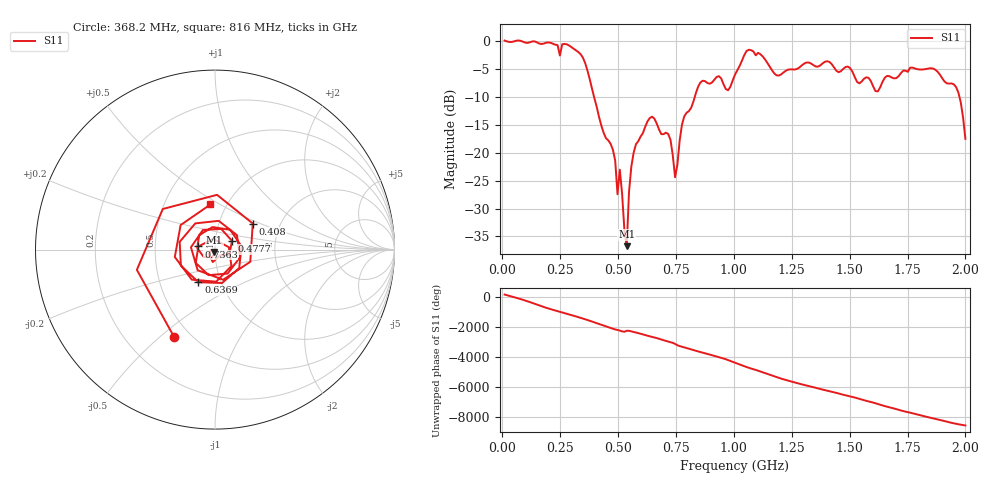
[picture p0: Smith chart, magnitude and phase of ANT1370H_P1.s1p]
!Created with skrf (http://scikit-rf.org).
# Hz S RI R 50.0
!freq ReS11 ImS11
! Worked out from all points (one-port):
!   201 points, 10 MHz to 2 GHz, reference 50 ohm
!   lowest |S11| = -36.7 dB at 537.4 MHz (marker M1), VSWR 1.03, Z = 49.5 - j1.37 ohm
!   |S11| at or under -10 dB: 396.2 MHz to 831.5 MHz (435.3 MHz wide, 70.9 % of centre); 1.974 GHz to end of sweep
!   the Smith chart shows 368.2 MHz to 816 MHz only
!   S11 on the Smith chart (normalised r, x): 368.2 MHz: 0.41, -0.56; 408 MHz: 1.45, +0.45; 477.6 MHz: 1.20, +0.12; 636.9 MHz: 0.78, -0.30; 736.4 MHz: 0.83, +0.03; 816 MHz: 0.84, +0.45
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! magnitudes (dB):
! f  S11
! 10 MHz  0.1
! 258.8 MHz  -0.6
! 368.2 MHz  -5.4
! 408 MHz  -11.8
! 477.6 MHz  -19.5
! 497.6 MHz  -27.4
! 507.5 MHz  -23.0
! 537.4 MHz  -36.7
! 547.3 MHz  -27.0
! 567.2 MHz  -20.0
! 636.9 MHz  -13.8
! 716.5 MHz  -16.7
! 736.4 MHz  -20.5
! 746.3 MHz  -24.4
! 756.2 MHz  -22.1
! 776.1 MHz  -15.0
! 816 MHz  -11.9
! 855.8 MHz  -7.4
! 975.1 MHz  -8.8
! 1.005 GHz  -6.0
! 1.065 GHz  -1.6
! 1.254 GHz  -5.1
! 1.502 GHz  -4.9
! 1.622 GHz  -9.0
! 1.751 GHz  -5.5
! 1.95 GHz  -7.8
! 1.98 GHz  -11.0
! 2 GHz  -17.5
